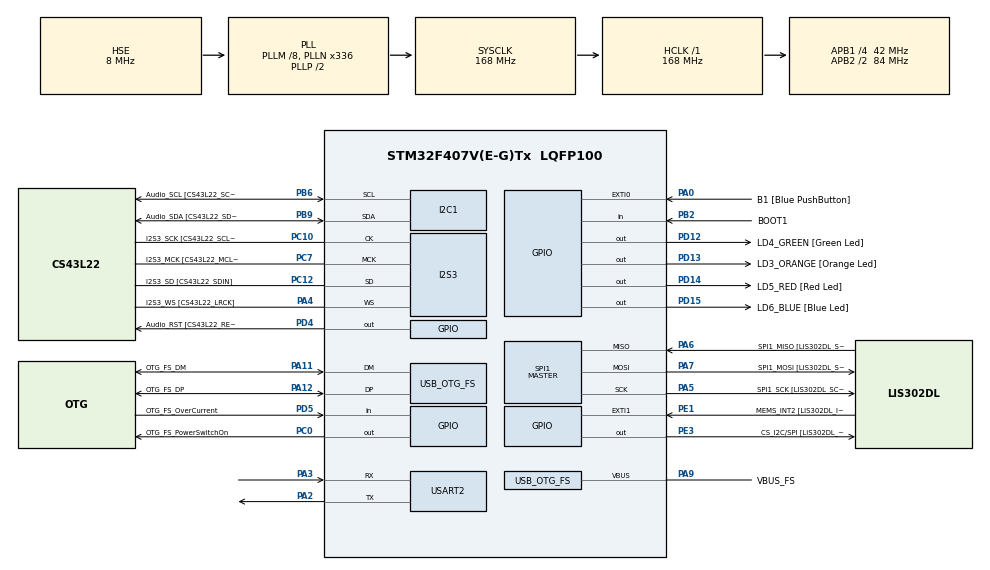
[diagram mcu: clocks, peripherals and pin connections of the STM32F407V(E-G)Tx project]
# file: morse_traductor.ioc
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I2S3.AudioFreq-Half_Duplex_Master=I2S_AUDIOFREQ_96K
I2S3.ErrorAudioFreq=-2.34 %
I2S3.ErrorAudioFreq-Half_Duplex_Master=0.8 %
I2S3.FullDuplexMode=I2S_FULLDUPLEXMODE_DISABLE
I2S3.Instance=SPI$Index
I2S3.RealAudioFreq=93.75 KHz
I2S3.RealAudioFreq-Half_Duplex_Master=96.774 KHz
I2S3.VirtualMode=I2S_MODE_MASTER
Mcu.Family=STM32F4
Mcu.Name=STM32F407V(E-G)Tx
Mcu.Package=LQFP100
NVIC.OTG_FS_IRQn=true\:0\:0\:false\:false\:true\:true\:true
NVIC.PriorityGroup=NVIC_PRIORITYGROUP_0
PA0-WKUP.GPIO_Label=B1 [Blue PushButton]
PA0-WKUP.GPIO_ModeDefaultEXTI=GPIO_MODE_EVT_RISING
PA0-WKUP.GPIO_PuPd=GPIO_NOPULL
PA0-WKUP.Signal=GPXTI0
PA10.GPIO_Label=OTG_FS_ID
PA10.GPIO_Mode=GPIO_MODE_AF_PP
PA10.GPIO_PuPd=GPIO_NOPULL
PA10.GPIO_Speed=GPIO_SPEED_FREQ_LOW
PA10.Signal=USB_OTG_FS_ID
PA11.GPIO_Label=OTG_FS_DM
PA11.GPIO_Mode=GPIO_MODE_AF_PP
PA11.GPIO_PuPd=GPIO_NOPULL
PA11.GPIO_Speed=GPIO_SPEED_FREQ_LOW
PA11.Mode=Host_Only
PA11.Signal=USB_OTG_FS_DM
PA12.GPIO_Label=OTG_FS_DP
PA12.GPIO_Mode=GPIO_MODE_AF_PP
PA12.GPIO_PuPd=GPIO_NOPULL
PA12.GPIO_Speed=GPIO_SPEED_FREQ_LOW
PA12.Mode=Host_Only
PA12.Signal=USB_OTG_FS_DP
PA13.GPIO_Label=SWDIO
PA13.Mode=Serial_Wire
PA13.Signal=SYS_JTMS-SWDIO
PA14.GPIO_Label=SWCLK
PA14.Mode=Serial_Wire
PA14.Signal=SYS_JTCK-SWCLK
PA2.Mode=Asynchronous
PA2.Signal=USART2_TX
PA3.Mode=Asynchronous
PA3.Signal=USART2_RX
PA4.GPIO_Label=I2S3_WS [CS43L22_LRCK]
PA4.GPIO_Mode=GPIO_MODE_AF_PP
PA4.GPIO_PuPd=GPIO_NOPULL
PA4.GPIO_Speed=GPIO_SPEED_FREQ_LOW
PA4.Mode=Half_Duplex_Master
PA4.Signal=I2S3_WS
PA5.GPIO_Label=SPI1_SCK [LIS302DL_SCL/SPC]
PA5.GPIO_Mode=GPIO_MODE_AF_PP
PA5.GPIO_PuPd=GPIO_NOPULL
PA5.GPIO_Speed=GPIO_SPEED_FREQ_LOW
PA5.Mode=Full_Duplex_Master
PA5.Signal=SPI1_SCK
PA6.GPIO_Label=SPI1_MISO [LIS302DL_SDO]
PA6.GPIO_Mode=GPIO_MODE_AF_PP
PA6.GPIO_PuPd=GPIO_NOPULL
PA6.GPIO_Speed=GPIO_SPEED_FREQ_LOW
PA6.Mode=Full_Duplex_Master
PA6.Signal=SPI1_MISO
PA7.GPIO_Label=SPI1_MOSI [LIS302DL_SDA/SDI/SDO]
PA7.GPIO_Mode=GPIO_MODE_AF_PP
PA7.GPIO_PuPd=GPIO_NOPULL
PA7.GPIO_Speed=GPIO_SPEED_FREQ_LOW
PA7.Mode=Full_Duplex_Master
PA7.Signal=SPI1_MOSI
PA9.GPIO_Label=VBUS_FS
PA9.GPIO_Mode=GPIO_MODE_INPUT
PA9.GPIO_PuPd=GPIO_NOPULL
PA9.Mode=Activate_VBUS
PA9.Signal=USB_OTG_FS_VBUS
PB10.GPIO_Label=CLK_IN [MP45DT02_CLK]
PB10.GPIO_Mode=GPIO_MODE_AF_PP
PB10.GPIO_PuPd=GPIO_NOPULL
PB10.GPIO_Speed=GPIO_SPEED_FREQ_LOW
PB10.Signal=I2S2_CK
PB2.GPIO_Label=BOOT1
PB2.GPIO_Mode=GPIO_MODE_INPUT
PB2.GPIO_PuPd=GPIO_NOPULL
PB2.Signal=GPIO_Input
PB3.GPIO_Label=SWO
PB3.Signal=SYS_JTDO-SWO
PB6.GPIO_Label=Audio_SCL [CS43L22_SCL]
PB6.GPIO_Mode=GPIO_MODE_AF_OD
PB6.GPIO_Pu=GPIO_PULLUP
PB6.GPIO_PuPd=GPIO_NOPULL
PB6.GPIO_Speed=GPIO_SPEED_FREQ_LOW
PB6.Mode=I2C
PB6.Signal=I2C1_SCL
PB9.GPIO_Label=Audio_SDA [CS43L22_SDA]
PB9.GPIO_Mode=GPIO_MODE_AF_OD
PB9.GPIO_Pu=GPIO_PULLUP
PB9.GPIO_PuPd=GPIO_NOPULL
PB9.GPIO_Speed=GPIO_SPEED_FREQ_LOW
PB9.Mode=I2C
PB9.Signal=I2C1_SDA
PC0.GPIO_Label=OTG_FS_PowerSwitchOn
PC0.GPIO_PuPd=GPIO_NOPULL
PC0.GPIO_Speed=GPIO_SPEED_FREQ_LOW
PC0.PinState=GPIO_PIN_SET
PC0.Signal=GPIO_Output
PC10.GPIO_Label=I2S3_SCK [CS43L22_SCLK]
PC10.GPIO_Mode=GPIO_MODE_AF_PP
PC10.GPIO_PuPd=GPIO_NOPULL
PC10.GPIO_Speed=GPIO_SPEED_FREQ_LOW
PC10.Mode=Half_Duplex_Master
PC10.Signal=I2S3_CK
PC12.GPIO_Label=I2S3_SD [CS43L22_SDIN]
PC12.GPIO_Mode=GPIO_MODE_AF_PP
PC12.GPIO_PuPd=GPIO_NOPULL
PC12.GPIO_Speed=GPIO_SPEED_FREQ_LOW
PC12.Mode=Half_Duplex_Master
PC12.Signal=I2S3_SD
PC14-OSC32_IN.GPIO_Label=PC14-OSC32_IN
PC14-OSC32_IN.Mode=LSE-External-Oscillator
PC14-OSC32_IN.Signal=RCC_OSC32_IN
PC15-OSC32_OUT.GPIO_Label=PC15-OSC32_OUT
PC15-OSC32_OUT.Mode=LSE-External-Oscillator
PC15-OSC32_OUT.Signal=RCC_OSC32_OUT
PC3.GPIO_Label=PDM_OUT [MP45DT02_DOUT]
PC3.GPIO_Mode=GPIO_MODE_AF_PP
PC3.GPIO_PuPd=GPIO_NOPULL
PC3.GPIO_Speed=GPIO_SPEED_FREQ_LOW
PC3.Signal=I2S2_SD
PC7.GPIO_Label=I2S3_MCK [CS43L22_MCLK]
PC7.GPIO_Mode=GPIO_MODE_AF_PP
PC7.GPIO_PuPd=GPIO_NOPULL
PC7.GPIO_Speed=GPIO_SPEED_FREQ_LOW
PC7.Mode=Master_Clock_Activated
PC7.Signal=I2S3_MCK
PD12.GPIO_Label=LD4_GREEN [Green Led]
PD12.GPIO_PuPd=GPIO_NOPULL
PD12.GPIO_Speed=GPIO_SPEED_FREQ_LOW
PD12.Signal=GPIO_Output
PD13.GPIO_Label=LD3_ORANGE [Orange Led]
PD13.GPIO_PuPd=GPIO_NOPULL
PD13.GPIO_Speed=GPIO_SPEED_FREQ_LOW
PD13.Signal=GPIO_Output
PD14.GPIO_Label=LD5_RED [Red Led]
PD14.GPIO_PuPd=GPIO_NOPULL
PD14.GPIO_Speed=GPIO_SPEED_FREQ_LOW
PD14.Signal=GPIO_Output
PD15.GPIO_Label=LD6_BLUE [Blue Led]
PD15.GPIO_PuPd=GPIO_NOPULL
PD15.GPIO_Speed=GPIO_SPEED_FREQ_LOW
PD15.Signal=GPIO_Output
PD4.GPIO_Label=Audio_RST [CS43L22_RESET]
PD4.GPIO_PuPd=GPIO_NOPULL
PD4.GPIO_Speed=GPIO_SPEED_FREQ_LOW
PD4.Signal=GPIO_Output
PD5.GPIO_Label=OTG_FS_OverCurrent
PD5.GPIO_Mode=GPIO_MODE_INPUT
PD5.GPIO_PuPd=GPIO_NOPULL
PD5.Signal=GPIO_Input
PE1.GPIO_Label=MEMS_INT2 [LIS302DL_INT2]
PE1.GPIO_ModeDefaultEXTI=GPIO_MODE_EVT_RISING
PE1.GPIO_PuPd=GPIO_NOPULL
PE1.Signal=GPXTI1
PE3.GPIO_Label=CS_I2C/SPI [LIS302DL_CS_I2C/SPI]
PE3.GPIO_PuPd=GPIO_NOPULL
PE3.GPIO_Speed=GPIO_SPEED_FREQ_LOW
PE3.Signal=GPIO_Output
PH0-OSC_IN.GPIO_Label=PH0-OSC_IN
PH0-OSC_IN.Mode=HSE-External-Oscillator
PH0-OSC_IN.Signal=RCC_OSC_IN
PH1-OSC_OUT.GPIO_Label=PH1-OSC_OUT
PH1-OSC_OUT.Mode=HSE-External-Oscillator
PH1-OSC_OUT.Signal=RCC_OSC_OUT
ProjectManager.HeapSize=0x200
ProjectManager.StackSize=0x400
ProjectManager.TargetToolchain=SW4STM32
RCC.48MHZClocksFreq_Value=48000000
RCC.AHBFreq_Value=168000000
RCC.APB1CLKDivider=RCC_HCLK_DIV4
RCC.APB1Freq_Value=42000000
RCC.APB1TimFreq_Value=84000000
RCC.APB2CLKDivider=RCC_HCLK_DIV2
RCC.APB2Freq_Value=84000000
RCC.APB2TimFreq_Value=168000000
RCC.CortexFreq_Value=168000000
RCC.HCLKFreq_Value=168000000
RCC.HSE_VALUE=8000000
RCC.HSI_VALUE=16000000
RCC.PLLM=8
RCC.PLLN=336
RCC.PLLQ=7
RCC.SYSCLKFreq_VALUE=168000000
RCC.SYSCLKSource=RCC_SYSCLKSOURCE_PLLCLK
RCC.VCOOutputFreq_Value=336000000
SPI1.BaudRatePrescaler-Full_Duplex_Master=SPI_BAUDRATEPRESCALER_2
SPI1.CalculateBaudRate-Full_Duplex_Master=42.0 MBits/s
SPI1.Direction=SPI_DIRECTION_2LINES
SPI1.Mode=SPI_MODE_MASTER
SPI1.Mode-Full_Duplex_Master=SPI_MODE_MASTER
SPI1.VirtualType=VM_MASTER
USART2.VirtualMode=VM_ASYNC
USB_HOST.BSP.number=1
USB_HOST.USBH_HandleTypeDef-CDC_FS=hUsbHostFS
USB_HOST.VirtualModeFS=Cdc
USB_HOST0.BSP.STBoard=false
USB_HOST0.BSP.api=Unknown
USB_HOST0.BSP.i2caddr=0
USB_HOST0.BSP.i2creg=0
USB_HOST0.BSP.instance=PC0
USB_HOST0.BSP.ip=GPIO
USB_HOST0.BSP.mode=Output
USB_HOST0.BSP.name=Drive_VBUS_FS
USB_HOST0.BSP.solution=PC0
USB_OTG_FS.VirtualMode=Host_Only
USB_OTG_FS.phy_itface=HCD_PHY_EMBEDDED
VP_USB_HOST_VS_USB_HOST_CDC_FS.Mode=CDC_FS
board=STM32F407G-DISC1

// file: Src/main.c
/* USER CODE BEGIN Header */
/**
  ******************************************************************************
  * @file           : main.c
  * @brief          : Main program body
  ******************************************************************************
  * @attention
  *
  * Copyright (c) 2022 STMicroelectronics.
  * All rights reserved.
  *
  * This software is licensed under terms that can be found in the LICENSE file
  * in the root directory of this software component.
  * If no LICENSE file comes with this software, it is provided AS-IS.
  *
  ******************************************************************************
  */
/* USER CODE END Header */
#include "main.h"
#include "i2c.h"
#include "i2s.h"
#include "spi.h"
#include "usart.h"
#include "usb_host.h"
#include "gpio.h"

/* USER CODE BEGIN Includes */
#include <string.h>
/* USER CODE END Includes */

void SystemClock_Config(void);
void MX_USB_HOST_Process(void);
/* USER CODE BEGIN PFP */
int indexOfP(char);
/* USER CODE END PFP */

/* USER CODE BEGIN 0 */
char arrChar[36] =
 { 'a',
   'b',
   'c',
   'd',
   'e',
   'f',
   'g',
   'h',
   'i',
   'j',
   'k',
   'l',
   'm',
   'n',
   'o',
   'p',
   'q',
   'r',
   's',
   't',
   'u',
   'v',
   'w',
   'x',
   'y',
   'z',
   '0',
   '1',
   '2',
   '3',
   '4',
   '5',
   '6',
   '7',
   '8',
   '9',
 };
 char* arrMorse[36] =
 { "._",
   "_...",
   "_._.",
   "_..",
   ".",
   ".._.",
   "__.",
   "....",
   "..",
   ".___",
   "_._",
   "._..",
   "__",
   "_.",
   "___",
   ".__.",
   "__._",
   ".__.",
   "...",
   "_",
   ".._",
   "..._",
   ".__",
   "_.._",
   "_.__",
   "__..",
   "_____",
   ".____",
   "..___",
   "...__",
   "...._",
   ".....",
   "_....",
   "__...",
   "___..",
   "____.",
 };
/* USER CODE END 0 */

int main(void)
{

  /* MCU Configuration--------------------------------------------------------*/

  /* Reset of all peripherals, Initializes the Flash interface and the Systick. */
  HAL_Init();

  /* Configure the system clock */
  SystemClock_Config();

  /* Initialize all configured peripherals */
  MX_GPIO_Init();
  MX_I2C1_Init();
  MX_I2S3_Init();
  MX_SPI1_Init();
  MX_USART2_UART_Init();
  MX_USB_HOST_Init();

  /* Infinite loop */
  /* USER CODE BEGIN WHILE */
  char message[30] = "\necrivez votre message : ";
  while (1)
  {
	  char reponse[20], retour[20];
	  ecris_txt(message);
	  read_string(&reponse,strlen(reponse));
	  sprintf(retour, "%s",reponse);
	  ecris_txt("reponse : ");
	  ecris_txt(retour);
	  ecris_txt("\n");
	  wordToMorse(retour);
    /* USER CODE END WHILE */
    MX_USB_HOST_Process();

  }
}

void SystemClock_Config(void)
{
  RCC_OscInitTypeDef RCC_OscInitStruct = {0};
  RCC_ClkInitTypeDef RCC_ClkInitStruct = {0};

  /** Configure the main internal regulator output voltage
  */
  __HAL_RCC_PWR_CLK_ENABLE();
  __HAL_PWR_VOLTAGESCALING_CONFIG(PWR_REGULATOR_VOLTAGE_SCALE1);
  /** Initializes the RCC Oscillators according to the specified parameters
  * in the RCC_OscInitTypeDef structure.
  */
  RCC_OscInitStruct.OscillatorType = RCC_OSCILLATORTYPE_HSE;
  RCC_OscInitStruct.HSEState = RCC_HSE_ON;
  RCC_OscInitStruct.PLL.PLLState = RCC_PLL_ON;
  RCC_OscInitStruct.PLL.PLLSource = RCC_PLLSOURCE_HSE;
  RCC_OscInitStruct.PLL.PLLM = 8;
  RCC_OscInitStruct.PLL.PLLN = 336;
  RCC_OscInitStruct.PLL.PLLP = RCC_PLLP_DIV2;
  RCC_OscInitStruct.PLL.PLLQ = 7;
  if (HAL_RCC_OscConfig(&RCC_OscInitStruct) != HAL_OK)
  {
    Error_Handler();
  }
  /** Initializes the CPU, AHB and APB buses clocks
  */
  RCC_ClkInitStruct.ClockType = RCC_CLOCKTYPE_HCLK|RCC_CLOCKTYPE_SYSCLK
                              |RCC_CLOCKTYPE_PCLK1|RCC_CLOCKTYPE_PCLK2;
  RCC_ClkInitStruct.SYSCLKSource = RCC_SYSCLKSOURCE_PLLCLK;
  RCC_ClkInitStruct.AHBCLKDivider = RCC_SYSCLK_DIV1;
  RCC_ClkInitStruct.APB1CLKDivider = RCC_HCLK_DIV4;
  RCC_ClkInitStruct.APB2CLKDivider = RCC_HCLK_DIV2;

  if (HAL_RCC_ClockConfig(&RCC_ClkInitStruct, FLASH_LATENCY_5) != HAL_OK)
  {
    Error_Handler();
  }
}

/* USER CODE BEGIN 4 */
void ecris_char(uint8_t car){
	HAL_UART_Transmit(&huart2,&car,1,1000);
}

void ecris_txt(uint8_t *txt){
	int i;
	for(i=0;i<strlen(txt);i++) {
		ecris_char(txt[i]);
	}
}

unsigned char* lis_txt(char *txt) {
	txt[0]='\0';
	while(!txt[0])
		HAL_UART_Receive(&huart2, txt, 1, 1000);
	ecris_char(*txt);
	return txt;
}

void read_string(unsigned char* txt, size_t size)
{

    unsigned char current;
    current = *lis_txt(&current);

    size_t currSize = 0;
    while (current != '\r' && current != '\n' && currSize < size - 1)
    {
        txt[currSize++] = current;
        current = *lis_txt(&current);
    }
    txt[currSize] = '\0';
    ecris_char('\r');
}

char* charToMorse(char *retour,char charactere) {
    strcpy(retour, arrMorse[indexOfP(charactere)]);
    char txt[20];
    /*sprintf(txt, "trouve %s\n\r",retour);
    ecris_txt(txt);*/
    return retour;
}

void morseToLight(char* tab,char* morse) {
	char txt[20];
	sprintf(txt, "trouve %s\n\r",morse);
	ecris_txt(txt);
    for (int i = 0; i < nbInstance(morse); i++) {
    	char txt[20];
    	sprintf(txt,"morse %c\n\r",morse[i]);
    	ecris_txt(txt);
        if(morse[i] == '.') {
        	HAL_GPIO_WritePin(LD6_BLUE_GPIO_Port, LD6_BLUE_Pin, GPIO_PIN_SET);
        	HAL_Delay(100);
        } else {
        	HAL_GPIO_WritePin(LD6_BLUE_GPIO_Port, LD6_BLUE_Pin, GPIO_PIN_SET);
        	HAL_Delay(300);
        }
       	HAL_GPIO_WritePin(LD6_BLUE_GPIO_Port, LD6_BLUE_Pin, GPIO_PIN_RESET);
        HAL_Delay(100);
    }
    HAL_Delay(700);
}

void wordToMorse(char *word) {
	char tableau[15];
	char tableau2[15];

    for (int i = 0; i < strlen(word); i++) {
  	  /*ecris_txt("word i : ");
  	  ecris_char(word[i]);
  	  ecris_txt("\n");*/
      morseToLight(tableau2,charToMorse(tableau, word[i]));
    }
}

int indexOfP(char charracter){
	for(int i = 0;  i < sizeof(arrChar); i++){
		char txt[20];
		/*sprintf(txt, "arrchar %c\n\r",arrChar[i]);
		ecris_txt(txt);*/

		if(arrChar[i] == charracter){
			char txt[20];
			/*sprintf(txt, "trouve %c\n\r",arrChar[i]);
			ecris_txt(txt);*/
			return i;
		}
	}
	return 0;
}

int nbInstance(char* alu){
	int i = 0;
	while(alu[i] != '\0'){
		i++;
	}
	return i;
}
/* USER CODE END 4 */

void Error_Handler(void)
{
  __disable_irq();
  while (1)
  {
  }
}
